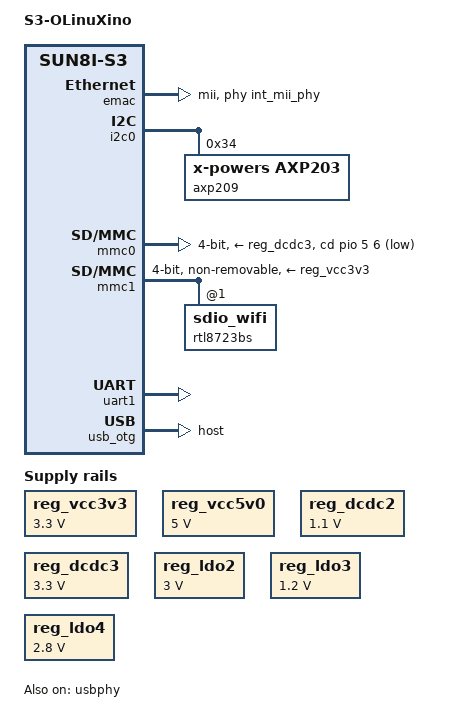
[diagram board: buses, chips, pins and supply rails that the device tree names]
// SPDX-License-Identifier: (GPL-2.0+ OR X11)
/*
 * Copyright 2021 Dimitar Gamishev <hehopmajieh@debian.bg>
 */

/dts-v1/;
#include "sun8i-v3.dtsi"
#include <dt-bindings/gpio/gpio.h>
#include <dt-bindings/input/input.h>
#include "sunxi-common-regulators.dtsi"

/ {
	model = "S3-OLinuXino";
	compatible = "olimex,s3-olinuxino", "allwinner,sun8i-s3";

	aliases {
		serial0 = &uart1;
	};

	chosen {
		stdout-path = "serial0:115200n8";
	};


	reg_vcc3v3: vcc3v3 {
		compatible = "regulator-fixed";
		regulator-name = "vcc3v3";
		regulator-min-microvolt = <3300000>;
		regulator-max-microvolt = <3300000>;
	};

	reg_vcc5v0: vcc5v0 {
		compatible = "regulator-fixed";
		regulator-name = "vcc5v0";
		regulator-min-microvolt = <5000000>;
		regulator-max-microvolt = <5000000>;
	};

};

&emac {
	phy-handle = <&int_mii_phy>;
	phy-mode = "mii";
	status = "okay";
};

&i2c0 {
	status = "okay";

	axp209: pmic@34 {
		compatible = "x-powers,axp203",
			     "x-powers,axp209";
		reg = <0x34>;
		interrupt-parent = <&gic>;
		interrupts = <GIC_SPI 32 IRQ_TYPE_LEVEL_HIGH>;
		interrupt-controller;
		#interrupt-cells = <1>;
	};
};


&mmc0 {
	vmmc-supply = <&reg_dcdc3>;
	bus-width = <4>;
	cd-gpios = <&pio 5 6 GPIO_ACTIVE_LOW>;
	status = "okay";
};

&mmc1 {
	pinctrl-names = "default";
	pinctrl-0 = <&mmc1_pins>;
	vmmc-supply = <&reg_vcc3v3>;
	bus-width = <4>;
	non-removable;
	status = "okay";

	rtl8723bs: sdio_wifi@1 {
		reg = <1>;
	};
};

&pio {
	vcc-pd-supply = <&reg_dcdc3>;
	vcc-pe-supply = <&reg_ldo3>;
};

&reg_usb0_vbus {
	gpio = <&pio 1 8 GPIO_ACTIVE_HIGH>;
	status = "okay";
//	regulator-always-on;
};

#include "axp209.dtsi"

&ac_power_supply {
	status = "okay";
};

&reg_dcdc2 {
	regulator-always-on;
	regulator-min-microvolt = <1100000>;
	regulator-max-microvolt = <1100000>;
	regulator-name = "vdd-sys-cpu-ephy";
};

&reg_dcdc3 {
	regulator-always-on;
	regulator-min-microvolt = <3300000>;
	regulator-max-microvolt = <3300000>;
	regulator-name = "vcc-3v3";
};

&reg_ldo1 {
	regulator-name = "vdd-rtc";
};

&reg_ldo2 {
	regulator-always-on;
	regulator-min-microvolt = <3000000>;
	regulator-max-microvolt = <3000000>;
	regulator-name = "avcc";
};

&reg_ldo3 {
	regulator-min-microvolt = <1200000>;
	regulator-max-microvolt = <1200000>;
	regulator-name = "avdd-dovdd-2v8-csi";
	regulator-soft-start;
	regulator-ramp-delay = <1600>;
};

&reg_ldo4 {
	regulator-min-microvolt = <2800000>;
	regulator-max-microvolt = <2800000>;
	regulator-name = "dvdd-2v8-csi";
};

&spi0 {
	status = "disabled";

	flash@0 {
		#address-cells = <1>;
		#size-cells = <1>;
		compatible = "winbond,w25q128", "jedec,spi-nor";
		reg = <0>;
		spi-max-frequency = <40000000>;
	};
};

&uart1 {
	pinctrl-0 = <&uart1_pg_pins>;
	pinctrl-names = "default";
	status = "okay";
};

&usb_otg {
	dr_mode = "host";
	status = "okay";
};


&usbphy {
	usb0_id_det-gpios = <&pio 6 9 (GPIO_ACTIVE_HIGH | GPIO_PULL_UP)>;
	usb0_vbus-supply = <&reg_usb0_vbus>;
	usb0_vbus_det-gpios = <&pio 1 10 (GPIO_ACTIVE_HIGH | GPIO_PULL_DOWN)>; /* PB10 */

	status = "okay";
};

